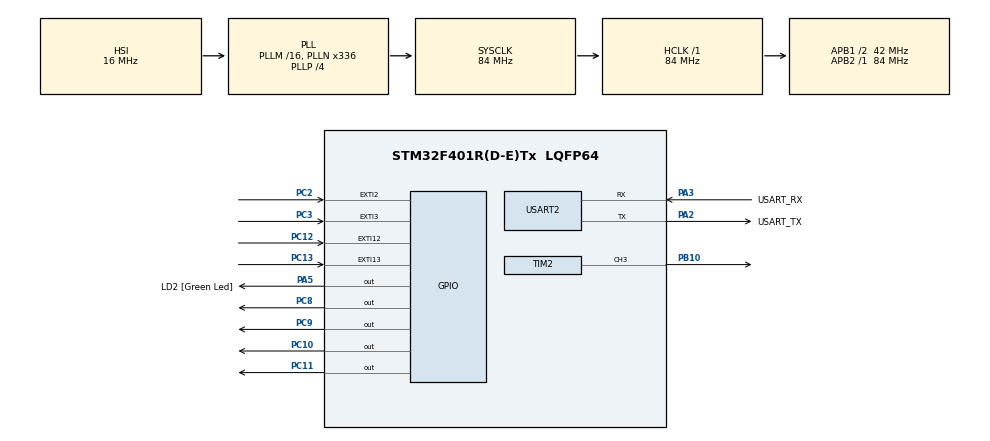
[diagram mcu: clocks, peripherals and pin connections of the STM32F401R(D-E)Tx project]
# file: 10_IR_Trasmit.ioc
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Mcu.Family=STM32F4
Mcu.Name=STM32F401R(D-E)Tx
Mcu.Package=LQFP64
NVIC.EXTI15_10_IRQn=true\:0\:0\:false\:false\:true\:true\:true\:true
NVIC.EXTI2_IRQn=true\:0\:1\:true\:false\:true\:true\:true\:true
NVIC.EXTI3_IRQn=true\:0\:0\:false\:false\:true\:true\:true\:true
NVIC.PriorityGroup=NVIC_PRIORITYGROUP_0
NVIC.TIM1_TRG_COM_TIM11_IRQn=true\:0\:0\:false\:false\:true\:true\:true\:true
NVIC.TIM1_UP_TIM10_IRQn=true\:0\:0\:false\:false\:true\:true\:true\:true
PA13.GPIO_Label=TMS
PA13.Mode=Serial_Wire
PA13.Signal=SYS_JTMS-SWDIO
PA14.GPIO_Label=TCK
PA14.Mode=Serial_Wire
PA14.Signal=SYS_JTCK-SWCLK
PA2.GPIO_Label=USART_TX
PA2.GPIO_Mode=GPIO_MODE_AF_PP
PA2.GPIO_PuPd=GPIO_NOPULL
PA2.GPIO_Speed=GPIO_SPEED_FREQ_LOW
PA2.Mode=Asynchronous
PA2.Signal=USART2_TX
PA3.GPIO_Label=USART_RX
PA3.GPIO_Mode=GPIO_MODE_AF_PP
PA3.GPIO_PuPd=GPIO_NOPULL
PA3.GPIO_Speed=GPIO_SPEED_FREQ_LOW
PA3.Mode=Asynchronous
PA3.Signal=USART2_RX
PA5.GPIO_Label=LD2 [Green Led]
PA5.GPIO_Mode=GPIO_MODE_OUTPUT_PP
PA5.GPIO_PuPd=GPIO_NOPULL
PA5.GPIO_Speed=GPIO_SPEED_FREQ_LOW
PA5.Signal=GPIO_Output
PB10.Signal=S_TIM2_CH3
PB3.GPIO_Label=SWO
PB3.Signal=SYS_JTDO-SWO
PC10.Signal=GPIO_Output
PC11.Signal=GPIO_Output
PC12.Signal=GPXTI12
PC13-ANTI_TAMP.Signal=GPXTI13
PC14-OSC32_IN.Mode=LSE-External-Oscillator
PC14-OSC32_IN.Signal=RCC_OSC32_IN
PC15-OSC32_OUT.Mode=LSE-External-Oscillator
PC15-OSC32_OUT.Signal=RCC_OSC32_OUT
PC2.Signal=GPXTI2
PC3.Signal=GPXTI3
PC8.Signal=GPIO_Output
PC9.Signal=GPIO_Output
PH0\ -\ OSC_IN.Mode=HSE-External-Clock-Source
PH0\ -\ OSC_IN.Signal=RCC_OSC_IN
PH1\ -\ OSC_OUT.Mode=HSE-External-Clock-Source
PH1\ -\ OSC_OUT.Signal=RCC_OSC_OUT
ProjectManager.HeapSize=0x200
ProjectManager.StackSize=0x400
ProjectManager.TargetToolchain=STM32CubeIDE
RCC.48MHZClocksFreq_Value=48000000
RCC.AHBFreq_Value=84000000
RCC.APB1CLKDivider=RCC_HCLK_DIV2
RCC.APB1Freq_Value=42000000
RCC.APB1TimFreq_Value=84000000
RCC.APB2Freq_Value=84000000
RCC.APB2TimFreq_Value=84000000
RCC.CortexFreq_Value=84000000
RCC.HCLKFreq_Value=84000000
RCC.HSE_VALUE=8000000
RCC.HSI_VALUE=16000000
RCC.PLLN=336
RCC.PLLP=RCC_PLLP_DIV4
RCC.PLLQ=7
RCC.SYSCLKFreq_VALUE=84000000
RCC.SYSCLKSource=RCC_SYSCLKSOURCE_PLLCLK
RCC.VCOOutputFreq_Value=336000000
SH.S_TIM2_CH3.0=TIM2_CH3,PWM Generation3 CH3
TIM10.Period=100-1
TIM10.Prescaler=8400-1
TIM11.Period=4200-1
TIM11.Prescaler=840-1
TIM2.Channel-PWM\ Generation3\ CH3=TIM_CHANNEL_3
TIM2.Period=10-1
TIM2.Prescaler=221-1
TIM2.Pulse-PWM\ Generation3\ CH3=5-1
TIM2.TIM_MasterOutputTrigger=TIM_TRGO_RESET
USART2.VirtualMode=VM_ASYNC
VP_TIM10_VS_ClockSourceINT.Mode=Enable_Timer
VP_TIM11_VS_ClockSourceINT.Mode=Enable_Timer
board=NUCLEO-F401RE

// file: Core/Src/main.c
/* USER CODE BEGIN Header */
/**
  ******************************************************************************
  * @file           : main.c
  * @brief          : Main program body
  ******************************************************************************
  * @attention
  *
  * Copyright (c) 2023 STMicroelectronics.
  * All rights reserved.
  *
  * This software is licensed under terms that can be found in the LICENSE file
  * in the root directory of this software component.
  * If no LICENSE file comes with this software, it is provided AS-IS.
  *
  ******************************************************************************
  */
/* USER CODE END Header */
#include "main.h"

/* USER CODE BEGIN Includes */
#include "stdio.h"
#include "time.h"
/* USER CODE END Includes */

TIM_HandleTypeDef htim2;
TIM_HandleTypeDef htim10;
TIM_HandleTypeDef htim11;

UART_HandleTypeDef huart2;

/* USER CODE BEGIN PV */
uint8_t column = 0;
uint8_t row = 0;
uint32_t press_time[4][4];
char buff[50];

uint8_t transmittCounter = 0;
char transmittPayload;

uint8_t flag_pressed = 0;
uint8_t tim10_elapsed = 0;
uint8_t tim11_elapsed = 0;
uint16_t gpio_pressed;

/* USER CODE END PV */

void SystemClock_Config(void);
static void MX_GPIO_Init(void);
static void MX_USART2_UART_Init(void);
static void MX_TIM2_Init(void);
static void MX_TIM11_Init(void);
static void MX_TIM10_Init(void);

/* USER CODE BEGIN 0 */

//function for the transmission of the payload through the IR led
int8_t Transmit_IR_UART(char payload){
	if(transmittCounter == 0){
		transmittPayload = payload;
		//set timer value for correct baud rate
		__HAL_TIM_SET_AUTORELOAD(&htim11, 420-1);

		if(HAL_TIM_Base_Start_IT(&htim11) != HAL_OK)
			Error_Handler();

		return 0;
	}else{
		return -1;
	}
}

void HAL_GPIO_EXTI_Callback(uint16_t GPIO_Pin){
	flag_pressed = 1;
	gpio_pressed = GPIO_Pin;
}

void HAL_TIM_PeriodElapsedCallback (TIM_HandleTypeDef *htim){
	if(htim == &htim10){
		tim10_elapsed = 1;
	}

	if(htim == &htim11){
		tim11_elapsed = 1;
	}
}

/* USER CODE END 0 */

int main(void)
{
  /* USER CODE BEGIN 1 */
	//initialization of the time matrix
	for(int h=0;h<3;h++){
		for(int k=0;k<3;k++){
			press_time[h][k]=-1;
		}
	}
  /* USER CODE END 1 */

  /* MCU Configuration--------------------------------------------------------*/

  /* Reset of all peripherals, Initializes the Flash interface and the Systick. */
  HAL_Init();

  /* Configure the system clock */
  SystemClock_Config();

  /* Initialize all configured peripherals */
  MX_GPIO_Init();
  MX_USART2_UART_Init();
  MX_TIM2_Init();
  MX_TIM11_Init();
  MX_TIM10_Init();
  /* USER CODE BEGIN 2 */

  if(HAL_TIM_Base_Start_IT(&htim10)!= HAL_OK)
      	  Error_Handler();

  /* USER CODE END 2 */

  /* Infinite loop */
  /* USER CODE BEGIN WHILE */
  while (1)
  {
	if(flag_pressed){
		flag_pressed = 0;
		//Based on which pin triggered the interrupt, row is assigned its correct value
		switch(gpio_pressed){
			case GPIO_PIN_2:
				row = 2;
			break;
			case GPIO_PIN_3:
				row = 3;
			break;
			case GPIO_PIN_12:
				row = 0;
			break;
			case GPIO_PIN_13:
				row = 1;
			break;
		}
		//current time is acquired
		uint32_t now = HAL_GetTick();
		//if difference between previous and current press time is > than 60ms, button has been pressed
		if(now - press_time[row][column]> 100){
			uint8_t data = column + row*4;
			//transmit the number of the button pressed
			Transmit_IR_UART(data);
		}
		//assign current time to time matrix
		press_time[row][column] = now;
	}

	if(tim10_elapsed){
		//reset flag
		tim10_elapsed = 0;
		//switch detected column
		switch(column){
			case 2:
				HAL_GPIO_WritePin(GPIOC, GPIO_PIN_10, 0);
				HAL_GPIO_WritePin(GPIOC, GPIO_PIN_11, 1);
				column++;
			break;
			case 3:
				HAL_GPIO_WritePin(GPIOC, GPIO_PIN_11, 0);
				HAL_GPIO_WritePin(GPIOC, GPIO_PIN_8, 1);
				column = 0;
			break;
			case 0:
				HAL_GPIO_WritePin(GPIOC, GPIO_PIN_8, 0);
				HAL_GPIO_WritePin(GPIOC, GPIO_PIN_9, 1);
				column++;
			break;
			case 1:
				HAL_GPIO_WritePin(GPIOC, GPIO_PIN_9, 0);
				HAL_GPIO_WritePin(GPIOC, GPIO_PIN_10, 1);
				column++;
			break;
		}
	}

	if(tim11_elapsed){
		//reset flag
		tim11_elapsed = 0;

		if(transmittCounter == 0){
			if(HAL_TIM_PWM_Start(&htim2, TIM_CHANNEL_3) != HAL_OK)
			Error_Handler();
			transmittCounter++;
		}
		else if(transmittCounter > 0){
		//if the counter is 9, we send the stop bit and disable the timer
			if(transmittCounter >= 9){
			// send stop bit
			// Output goes high when no modulated light is detected
			if(HAL_TIM_PWM_Stop(&htim2, TIM_CHANNEL_3) != HAL_OK)
				Error_Handler();

			if(HAL_TIM_Base_Stop_IT(&htim11) != HAL_OK)
				Error_Handler();

			transmittCounter = 0;

		}else{
			// shift the payload, to have the transmitting bit at the LSB position
			// then logic-and the result to get only the significant bit
			// Output goes low when modulated light is detected
			if((transmittPayload >> (transmittCounter-1)) & 0b00000001){
				if(HAL_TIM_PWM_Stop(&htim2, TIM_CHANNEL_3) != HAL_OK)
					Error_Handler();
				}else{
				if(transmittCounter >= 1 && ((transmittPayload >> (transmittCounter-2)) & 0b00000001)){
						if(HAL_TIM_PWM_Start(&htim2, TIM_CHANNEL_3) != HAL_OK)
							Error_Handler();
						}
				}

				transmittCounter++;
			}

		}
	}
    /* USER CODE END WHILE */

  }
}

void SystemClock_Config(void)
{
  RCC_OscInitTypeDef RCC_OscInitStruct = {0};
  RCC_ClkInitTypeDef RCC_ClkInitStruct = {0};

  /** Configure the main internal regulator output voltage
  */
  __HAL_RCC_PWR_CLK_ENABLE();
  __HAL_PWR_VOLTAGESCALING_CONFIG(PWR_REGULATOR_VOLTAGE_SCALE2);

  /** Initializes the RCC Oscillators according to the specified parameters
  * in the RCC_OscInitTypeDef structure.
  */
  RCC_OscInitStruct.OscillatorType = RCC_OSCILLATORTYPE_HSI;
  RCC_OscInitStruct.HSIState = RCC_HSI_ON;
  RCC_OscInitStruct.HSICalibrationValue = RCC_HSICALIBRATION_DEFAULT;
  RCC_OscInitStruct.PLL.PLLState = RCC_PLL_ON;
  RCC_OscInitStruct.PLL.PLLSource = RCC_PLLSOURCE_HSI;
  RCC_OscInitStruct.PLL.PLLM = 16;
  RCC_OscInitStruct.PLL.PLLN = 336;
  RCC_OscInitStruct.PLL.PLLP = RCC_PLLP_DIV4;
  RCC_OscInitStruct.PLL.PLLQ = 7;
  if (HAL_RCC_OscConfig(&RCC_OscInitStruct) != HAL_OK)
  {
    Error_Handler();
  }

  /** Initializes the CPU, AHB and APB buses clocks
  */
  RCC_ClkInitStruct.ClockType = RCC_CLOCKTYPE_HCLK|RCC_CLOCKTYPE_SYSCLK
                              |RCC_CLOCKTYPE_PCLK1|RCC_CLOCKTYPE_PCLK2;
  RCC_ClkInitStruct.SYSCLKSource = RCC_SYSCLKSOURCE_PLLCLK;
  RCC_ClkInitStruct.AHBCLKDivider = RCC_SYSCLK_DIV1;
  RCC_ClkInitStruct.APB1CLKDivider = RCC_HCLK_DIV2;
  RCC_ClkInitStruct.APB2CLKDivider = RCC_HCLK_DIV1;

  if (HAL_RCC_ClockConfig(&RCC_ClkInitStruct, FLASH_LATENCY_2) != HAL_OK)
  {
    Error_Handler();
  }
}

static void MX_TIM2_Init(void)
{

  TIM_MasterConfigTypeDef sMasterConfig = {0};
  TIM_OC_InitTypeDef sConfigOC = {0};

  htim2.Instance = TIM2;
  htim2.Init.Prescaler = 221-1;
  htim2.Init.CounterMode = TIM_COUNTERMODE_UP;
  htim2.Init.Period = 10-1;
  htim2.Init.ClockDivision = TIM_CLOCKDIVISION_DIV1;
  htim2.Init.AutoReloadPreload = TIM_AUTORELOAD_PRELOAD_DISABLE;
  if (HAL_TIM_PWM_Init(&htim2) != HAL_OK)
  {
    Error_Handler();
  }
  sMasterConfig.MasterOutputTrigger = TIM_TRGO_RESET;
  sMasterConfig.MasterSlaveMode = TIM_MASTERSLAVEMODE_DISABLE;
  if (HAL_TIMEx_MasterConfigSynchronization(&htim2, &sMasterConfig) != HAL_OK)
  {
    Error_Handler();
  }
  sConfigOC.OCMode = TIM_OCMODE_PWM1;
  sConfigOC.Pulse = 5-1;
  sConfigOC.OCPolarity = TIM_OCPOLARITY_HIGH;
  sConfigOC.OCFastMode = TIM_OCFAST_DISABLE;
  if (HAL_TIM_PWM_ConfigChannel(&htim2, &sConfigOC, TIM_CHANNEL_3) != HAL_OK)
  {
    Error_Handler();
  }
  HAL_TIM_MspPostInit(&htim2);

}

static void MX_TIM10_Init(void)
{

  htim10.Instance = TIM10;
  htim10.Init.Prescaler = 4800-1;
  htim10.Init.CounterMode = TIM_COUNTERMODE_UP;
  htim10.Init.Period = 100-1;
  htim10.Init.ClockDivision = TIM_CLOCKDIVISION_DIV1;
  htim10.Init.AutoReloadPreload = TIM_AUTORELOAD_PRELOAD_DISABLE;
  if (HAL_TIM_Base_Init(&htim10) != HAL_OK)
  {
    Error_Handler();
  }

}

static void MX_TIM11_Init(void)
{

  htim11.Instance = TIM11;
  htim11.Init.Prescaler = 840-1;
  htim11.Init.CounterMode = TIM_COUNTERMODE_UP;
  htim11.Init.Period = 4200-1;
  htim11.Init.ClockDivision = TIM_CLOCKDIVISION_DIV1;
  htim11.Init.AutoReloadPreload = TIM_AUTORELOAD_PRELOAD_DISABLE;
  if (HAL_TIM_Base_Init(&htim11) != HAL_OK)
  {
    Error_Handler();
  }

}

static void MX_USART2_UART_Init(void)
{

  huart2.Instance = USART2;
  huart2.Init.BaudRate = 115200;
  huart2.Init.WordLength = UART_WORDLENGTH_8B;
  huart2.Init.StopBits = UART_STOPBITS_1;
  huart2.Init.Parity = UART_PARITY_NONE;
  huart2.Init.Mode = UART_MODE_TX_RX;
  huart2.Init.HwFlowCtl = UART_HWCONTROL_NONE;
  huart2.Init.OverSampling = UART_OVERSAMPLING_16;
  if (HAL_UART_Init(&huart2) != HAL_OK)
  {
    Error_Handler();
  }

}

static void MX_GPIO_Init(void)
{
  GPIO_InitTypeDef GPIO_InitStruct = {0};

  /* GPIO Ports Clock Enable */
  __HAL_RCC_GPIOC_CLK_ENABLE();
  __HAL_RCC_GPIOH_CLK_ENABLE();
  __HAL_RCC_GPIOA_CLK_ENABLE();
  __HAL_RCC_GPIOB_CLK_ENABLE();

  /*Configure GPIO pin Output Level */
  HAL_GPIO_WritePin(LD2_GPIO_Port, LD2_Pin, GPIO_PIN_RESET);

  /*Configure GPIO pin Output Level */
  HAL_GPIO_WritePin(GPIOC, GPIO_PIN_8|GPIO_PIN_9|GPIO_PIN_10|GPIO_PIN_11, GPIO_PIN_RESET);

  /*Configure GPIO pins : PC13 PC2 PC3 PC12 */
  GPIO_InitStruct.Pin = GPIO_PIN_13|GPIO_PIN_2|GPIO_PIN_3|GPIO_PIN_12;
  GPIO_InitStruct.Mode = GPIO_MODE_IT_FALLING;
  GPIO_InitStruct.Pull = GPIO_NOPULL;
  HAL_GPIO_Init(GPIOC, &GPIO_InitStruct);

  /*Configure GPIO pin : LD2_Pin */
  GPIO_InitStruct.Pin = LD2_Pin;
  GPIO_InitStruct.Mode = GPIO_MODE_OUTPUT_PP;
  GPIO_InitStruct.Pull = GPIO_NOPULL;
  GPIO_InitStruct.Speed = GPIO_SPEED_FREQ_LOW;
  HAL_GPIO_Init(LD2_GPIO_Port, &GPIO_InitStruct);

  /*Configure GPIO pins : PC8 PC9 PC10 PC11 */
  GPIO_InitStruct.Pin = GPIO_PIN_8|GPIO_PIN_9|GPIO_PIN_10|GPIO_PIN_11;
  GPIO_InitStruct.Mode = GPIO_MODE_OUTPUT_PP;
  GPIO_InitStruct.Pull = GPIO_NOPULL;
  GPIO_InitStruct.Speed = GPIO_SPEED_FREQ_LOW;
  HAL_GPIO_Init(GPIOC, &GPIO_InitStruct);

  /* EXTI interrupt init*/
  HAL_NVIC_SetPriority(EXTI2_IRQn, 0, 1);
  HAL_NVIC_EnableIRQ(EXTI2_IRQn);

  HAL_NVIC_SetPriority(EXTI3_IRQn, 0, 0);
  HAL_NVIC_EnableIRQ(EXTI3_IRQn);

  HAL_NVIC_SetPriority(EXTI15_10_IRQn, 0, 0);
  HAL_NVIC_EnableIRQ(EXTI15_10_IRQn);

}

void Error_Handler(void)
{
  __disable_irq();
  while (1)
  {
  }
}
